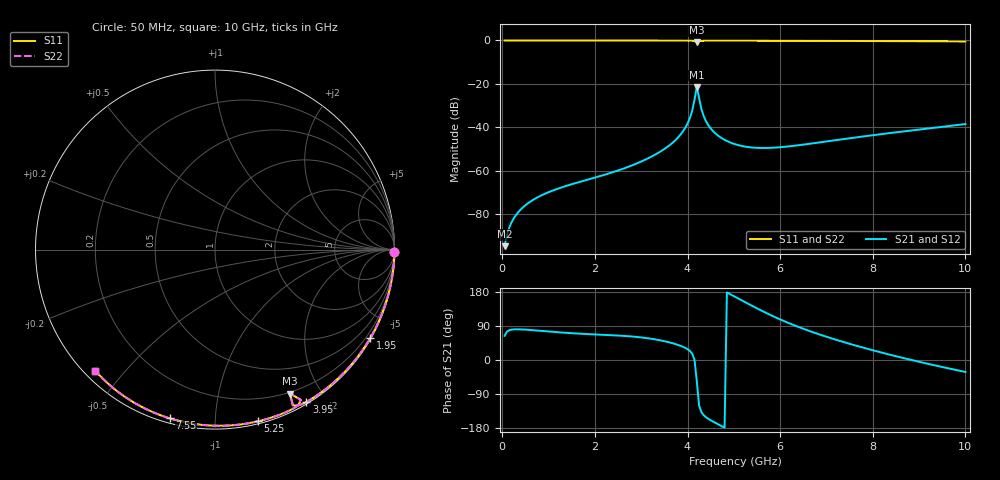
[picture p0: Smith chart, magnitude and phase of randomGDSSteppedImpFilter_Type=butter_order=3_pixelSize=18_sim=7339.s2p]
! freq	dB(S11)	phase(S11)	dB(S12)	phase(S12)
!  dB(S21)	phase(S21)	dB(S22)	phase(S22)
!S-par simulation data
#  GHz  S  DB  R 50
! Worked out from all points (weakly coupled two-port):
!   200 points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, 50 MHz to 10 GHz, reference 50 ohm
!   highest |S21| = -21.40 dB at 4.2 GHz (marker M1); lowest = -94.8 dB at 50 MHz (marker M2)
!   lowest |S11| = -0.9 dB at 4.2 GHz (marker M3), VSWR 19.85, Z = 9.3 - j81.6 ohm
!   |S11| at or under -10 dB: nowhere
!   |S22| runs from -0.9 to 0.0 dB; largest |S21 - S12| = 0
!   S11 on the Smith chart (normalised r, x): 50 MHz: open; 1.95 GHz: 0.03, -3.78; 3.95 GHz: 0.02, -1.77; 5.25 GHz: 0.02, -1.28; 7.55 GHz: 0.02, -0.77; 10 GHz: 0.03, -0.42
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0.05  -0.00 -0.8  -94.79 63.7  -94.79 63.7  -0.00 -0.8
0.3  -0.00 -4.6  -80.33 81.0  -80.33 81.0  -0.00 -4.6
0.55  -0.01 -8.5  -75.10 79.7  -75.10 79.7  -0.01 -8.5
0.8  -0.01 -12.3  -71.86 77.3  -71.86 77.3  -0.01 -12.3
1.75  -0.03 -26.7  -64.70 68.9  -64.70 68.9  -0.03 -26.7
1.95  -0.04 -29.6  -63.49 67.7  -63.49 67.7  -0.04 -29.7
2.8  -0.05 -42.2  -57.58 62.0  -57.58 62.0  -0.05 -42.2
3.4  -0.07 -50.9  -51.39 52.2  -51.39 52.2  -0.07 -50.9
3.75  -0.08 -55.9  -45.69 41.6  -45.69 41.6  -0.08 -56.0
3.95  -0.09 -59.0  -40.27 32.0  -40.27 32.0  -0.09 -59.0
4.1  -0.14 -61.9  -32.47 16.8  -32.47 16.8  -0.14 -61.9
4.2  -0.88 -62.5  -21.40 -55.6  -21.40 -55.6  -0.88 -62.5
4.3  -0.16 -61.8  -31.63 -137.8  -31.63 -137.8  -0.16 -61.8
4.45  -0.11 -64.7  -39.08 -155.4  -39.08 -155.4  -0.11 -64.7
4.7  -0.11 -68.4  -44.49 -172.2  -44.49 -172.2  -0.11 -68.4
5.05  -0.11 -73.2  -47.94 165.3  -47.94 165.3  -0.11 -73.2
5.25  -0.12 -75.9  -48.93 152.3  -48.93 152.3  -0.12 -75.9
5.85  -0.14 -83.7  -49.43 115.3  -49.43 115.3  -0.14 -83.8
6.7  -0.18 -94.5  -47.43 73.6  -47.43 73.6  -0.18 -94.6
7.55  -0.23 -105.0  -44.92 40.9  -44.92 40.9  -0.23 -105.1
8.35  -0.29 -114.7  -42.73 14.6  -42.73 14.6  -0.29 -114.7
10  -0.46 -134.6  -38.52 -31.6  -38.52 -31.6  -0.46 -134.6
